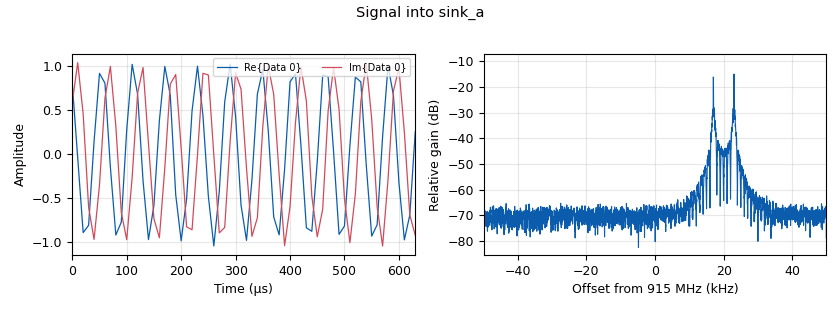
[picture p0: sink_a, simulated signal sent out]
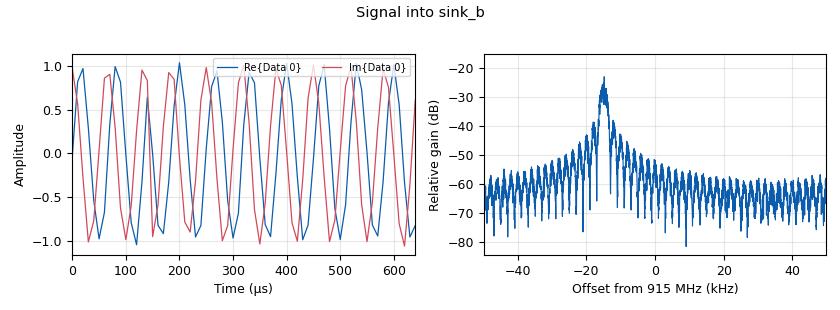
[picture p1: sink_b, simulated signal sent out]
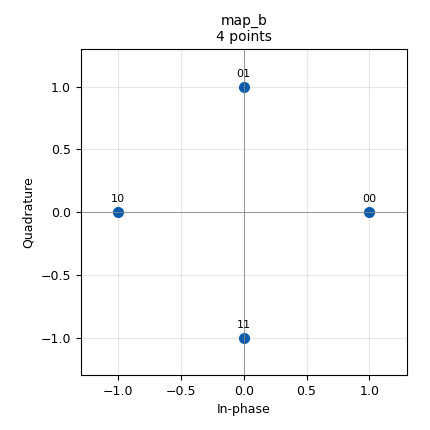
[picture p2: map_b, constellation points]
options:
  parameters:
    author: ECE 448
    description: 'L17: makes the three Simulated SigID recordings L17-sigid-a, -b, and -c (.sigmf-data and .sigmf-meta), 0.8 s each at 100 kS/s. No hardware; transmits nothing.'
    generate_options: no_gui
    id: L17_sigid_gen
    output_language: python
    run_options: run
    title: L17 - SigID Recordings Generator
  states: {}

blocks:
- name: samp_rate
  id: variable
  parameters:
    value: '100000'
  states: {}
- name: add_a
  id: blocks_add_xx
  parameters:
    type: complex
  states: {}
- name: add_b
  id: blocks_add_xx
  parameters:
    type: complex
  states: {}
- name: add_c
  id: blocks_add_xx
  parameters:
    type: complex
  states: {}
- name: c2f_a
  id: blocks_char_to_float
  parameters:
    scale: '1'
  states: {}
- name: fm_a
  id: analog_frequency_modulator_fc
  parameters:
    sensitivity: 2*math.pi*6000/samp_rate
  states: {}
- name: head_a
  id: blocks_head
  parameters:
    num_items: int(0.8*samp_rate)
    type: complex
  states: {}
- name: head_b
  id: blocks_head
  parameters:
    num_items: int(0.8*samp_rate)
    type: complex
  states: {}
- name: head_c
  id: blocks_head
  parameters:
    num_items: int(0.8*samp_rate)
    type: complex
  states: {}
- name: hops_c
  id: blocks_vector_source_x
  parameters:
    repeat: 'True'
    type: float
    vector: '[-30000, 10000, -10000, 30000, 0, -20000, 20000]'
  states: {}
- name: imp_math
  id: import
  parameters:
    imports: import math
  states: {}
- name: lo_a
  id: analog_sig_source_x
  parameters:
    amp: '1'
    freq: '20000'
    offset: '0'
    phase: '0'
    samp_rate: samp_rate
    type: complex
    waveform: analog.GR_COS_WAVE
  states: {}
- name: lo_b
  id: analog_sig_source_x
  parameters:
    amp: '1'
    freq: '-15000'
    offset: '0'
    phase: '0'
    samp_rate: samp_rate
    type: complex
    waveform: analog.GR_COS_WAVE
  states: {}
- name: map_b
  id: digital_chunks_to_symbols_xx
  parameters:
    dimension: '1'
    in_type: byte
    out_type: complex
    symbol_table: '[1, 1j, -1, -1j]'
  states: {}
- name: mix_a
  id: blocks_multiply_xx
  parameters:
    type: complex
  states: {}
- name: mix_b
  id: blocks_multiply_xx
  parameters:
    type: complex
  states: {}
- name: noise_a
  id: analog_noise_source_x
  parameters:
    amp: '0.05'
    noise_type: analog.GR_GAUSSIAN
    seed: '1'
    type: complex
  states: {}
- name: noise_b
  id: analog_noise_source_x
  parameters:
    amp: '0.05'
    noise_type: analog.GR_GAUSSIAN
    seed: '2'
    type: complex
  states: {}
- name: noise_c
  id: analog_noise_source_x
  parameters:
    amp: '0.05'
    noise_type: analog.GR_GAUSSIAN
    seed: '3'
    type: complex
  states: {}
- name: nrz_a
  id: blocks_add_const_vxx
  parameters:
    const: '-0.5'
    type: float
  states: {}
- name: rep_a
  id: blocks_repeat
  parameters:
    interp: '100'
    type: float
  states: {}
- name: rep_b
  id: blocks_repeat
  parameters:
    interp: '50'
    type: complex
  states: {}
- name: rep_c
  id: blocks_repeat
  parameters:
    interp: '8000'
    type: float
  states: {}
- name: rnd_a
  id: analog_random_source_x
  parameters:
    max: '2'
    min: '0'
    num_samps: '1000'
    repeat: 'True'
    type: byte
  states: {}
- name: rnd_b
  id: analog_random_source_x
  parameters:
    max: '4'
    min: '0'
    num_samps: '1000'
    repeat: 'True'
    type: byte
  states: {}
- name: sink_a
  id: blocks_sigmf_sink_minimal
  parameters:
    author: ECE 448
    center_freq: 915e6
    description: 'L17 SigID: unknown signal A, Simulated.'
    filename: L17-sigid-a
    hw_info: Simulated in GNU Radio; no radio
    sample_rate: samp_rate
    type: complex float (fc32_le)
  states: {}
- name: sink_b
  id: blocks_sigmf_sink_minimal
  parameters:
    author: ECE 448
    center_freq: 915e6
    description: 'L17 SigID: unknown signal B, Simulated.'
    filename: L17-sigid-b
    hw_info: Simulated in GNU Radio; no radio
    sample_rate: samp_rate
    type: complex float (fc32_le)
  states: {}
- name: sink_c
  id: blocks_sigmf_sink_minimal
  parameters:
    author: ECE 448
    center_freq: 915e6
    description: 'L17 SigID: unknown signal C, Simulated.'
    filename: L17-sigid-c
    hw_info: Simulated in GNU Radio; no radio
    sample_rate: samp_rate
    type: complex float (fc32_le)
  states: {}
- name: vco_c
  id: blocks_vco_c
  parameters:
    amplitude: '1'
    samp_rate: samp_rate
    sensitivity: 2*math.pi
  states: {}

connections:
- [add_a, '0', head_a, '0']
- [add_b, '0', head_b, '0']
- [add_c, '0', head_c, '0']
- [c2f_a, '0', nrz_a, '0']
- [fm_a, '0', mix_a, '0']
- [head_a, '0', sink_a, '0']
- [head_b, '0', sink_b, '0']
- [head_c, '0', sink_c, '0']
- [hops_c, '0', rep_c, '0']
- [lo_a, '0', mix_a, '1']
- [lo_b, '0', mix_b, '1']
- [map_b, '0', rep_b, '0']
- [mix_a, '0', add_a, '0']
- [mix_b, '0', add_b, '0']
- [noise_a, '0', add_a, '1']
- [noise_b, '0', add_b, '1']
- [noise_c, '0', add_c, '1']
- [nrz_a, '0', rep_a, '0']
- [rep_a, '0', fm_a, '0']
- [rep_b, '0', mix_b, '0']
- [rep_c, '0', vco_c, '0']
- [rnd_a, '0', c2f_a, '0']
- [rnd_b, '0', map_b, '0']
- [vco_c, '0', add_c, '0']

metadata:
  file_format: 1
  grc_version: 3.10.9.2
